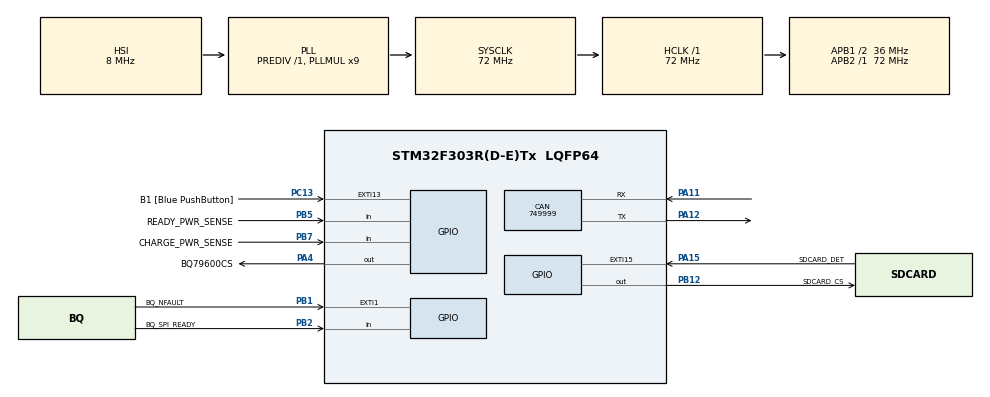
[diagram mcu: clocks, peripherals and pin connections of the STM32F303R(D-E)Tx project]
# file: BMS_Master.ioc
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CAN.CalculateBaudRate=749999
CAN.CalculateTimeBit=1333
CAN.CalculateTimeQuantum=444.44444444444446
FREERTOS.Tasks01=defaultTask,24,128,StartDefaultTask,Default,NULL,Dynamic,NULL,NULL;dataAcquisition,8,1024,StartDataAcquisitionTask,Default,NULL,Static,dataAcquisitionBuffer,dataAcquisitionControlBlock
Mcu.Family=STM32F3
Mcu.Name=STM32F303R(D-E)Tx
Mcu.Package=LQFP64
NVIC.PriorityGroup=NVIC_PRIORITYGROUP_4
NVIC.TIM6_DAC_IRQn=true\:15\:0\:false\:false\:true\:false\:false\:true\:true
NVIC.TimeBase=TIM6_DAC_IRQn
NVIC.TimeBaseIP=TIM6
PA1.Signal=OPAMP1_VINP
PA10.GPIO_Label=GREEN
PA10.Signal=S_TIM1_CH3
PA11.Mode=CAN_Activate
PA11.Signal=CAN_RX
PA12.Mode=CAN_Activate
PA12.Signal=CAN_TX
PA13.GPIO_Label=TMS
PA13.Signal=SYS_JTMS-SWDIO
PA14.GPIO_Label=TCK
PA14.Signal=SYS_JTCK-SWCLK
PA15.GPIO_Label=SDCARD_DET
PA15.GPIO_ModeDefaultEXTI=GPIO_MODE_IT_FALLING
PA15.Signal=GPXTI15
PA2.Signal=ADC1_IN3
PA4.GPIO_Label=BQ79600CS
PA4.Signal=GPIO_Output
PA5.Signal=SPI1_SCK
PA6.Signal=SPI1_MISO
PA7.Signal=SPI1_MOSI
PA8.GPIO_Label=RED
PA8.Signal=S_TIM1_CH1
PA9.GPIO_Label=BLUE
PA9.Signal=S_TIM1_CH2
PB1.GPIO_Label=BQ_NFAULT
PB1.GPIO_ModeDefaultEXTI=GPIO_MODE_IT_FALLING
PB1.Signal=GPXTI1
PB10.Signal=USART3_TX
PB11.Signal=USART3_RX
PB12.GPIO_Label=SDCARD_CS
PB12.Signal=GPIO_Output
PB13.Signal=SPI2_SCK
PB14.Signal=SPI2_MISO
PB15.Signal=SPI2_MOSI
PB2.GPIO_Label=BQ_SPI_READY
PB2.Signal=GPIO_Input
PB3.GPIO_Label=SWO
PB3.Signal=SYS_JTDO-TRACESWO
PB5.GPIO_Label=READY_PWR_SENSE
PB5.Signal=GPIO_Input
PB7.GPIO_Label=CHARGE_PWR_SENSE
PB7.Signal=GPIO_Input
PC13.GPIO_Label=B1 [Blue PushButton]
PC13.GPIO_ModeDefaultEXTI=GPIO_MODE_IT_FALLING
PC13.Signal=GPXTI13
PC14-OSC32_IN.Signal=RCC_OSC32_IN
PC15-OSC32_OUT.Signal=RCC_OSC32_OUT
PF0-OSC_IN.Signal=RCC_OSC_IN
PF1-OSC_OUT.Signal=RCC_OSC_OUT
ProjectManager.HeapSize=0x200
ProjectManager.StackSize=0x400
ProjectManager.TargetToolchain=Makefile
RCC.AHBFreq_Value=72000000
RCC.APB1CLKDivider=RCC_HCLK_DIV2
RCC.APB1Freq_Value=36000000
RCC.APB1TimFreq_Value=72000000
RCC.APB2Freq_Value=72000000
RCC.APB2TimFreq_Value=72000000
RCC.CortexFreq_Value=72000000
RCC.HCLKFreq_Value=72000000
RCC.HSE_VALUE=8000000
RCC.HSI_VALUE=8000000
RCC.LSE_VALUE=32768
RCC.PLLM=8
RCC.PLLMUL=RCC_PLL_MUL9
RCC.PLLN=336
RCC.PLLP=RCC_PLLP_DIV4
RCC.PLLQ=7
RCC.RCC_PLLsource_Clock_Source_FROM_HSE=RCC_HSE_PREDIV_DIV2
RCC.SYSCLKFreq_VALUE=72000000
RCC.SYSCLKSourceVirtual=RCC_SYSCLKSOURCE_PLLCLK
RCC.USBFreq_Value=72000000
SH.S_TIM1_CH1.0=TIM1_CH1
SH.S_TIM1_CH2.0=TIM1_CH2
SH.S_TIM1_CH3.0=TIM1_CH3
VP_FREERTOS_VS_CMSIS_V2.Mode=CMSIS_V2
VP_SYS_VS_tim6.Mode=TIM6
VP_TIM4_VS_ClockSourceINT.Mode=Internal
board=NUCLEO-F303RE

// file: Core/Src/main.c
/* USER CODE BEGIN Header */
/**
  ******************************************************************************
  * @file           : main.c
  * @brief          : Main program body
  ******************************************************************************
  * @attention
  *
  * Copyright (c) 2026 STMicroelectronics.
  * All rights reserved.
  *
  * This software is licensed under terms that can be found in the LICENSE file
  * in the root directory of this software component.
  * If no LICENSE file comes with this software, it is provided AS-IS.
  *
  ******************************************************************************
  */
/* USER CODE END Header */
#include "main.h"
#include "cmsis_os.h"
#include "bq79600.h"
#include "telemetry.h"
#include "bms_config.h"
/* USER CODE BEGIN Includes */
#include "data_acquisition.h"
#include "current_sensor.h"

/* USER CODE END Includes */

typedef StaticTask_t osStaticThreadDef_t;

CAN_HandleTypeDef hcan;

TIM_HandleTypeDef htim4;

/* Definitions for defaultTask */
osThreadId_t defaultTaskHandle;
const osThreadAttr_t defaultTask_attributes = {
  .name = "defaultTask",
  .stack_size = 128 * 4,
  .priority = (osPriority_t) osPriorityNormal,
};
/* Definitions for dataAcquisition */
osThreadId_t dataAcquisitionHandle;
uint32_t dataAcquisitionBuffer[ 1024 ];
osStaticThreadDef_t dataAcquisitionControlBlock;
const osThreadAttr_t dataAcquisition_attributes = {
  .name = "dataAcquisition",
  .cb_mem = &dataAcquisitionControlBlock,
  .cb_size = sizeof(dataAcquisitionControlBlock),
  .stack_mem = &dataAcquisitionBuffer[0],
  .stack_size = sizeof(dataAcquisitionBuffer),
  .priority = (osPriority_t) osPriorityLow,
};
/* Definitions for safetyManager */
osThreadId_t safetyManagerHandle;
uint32_t safetyManagerBuffer[ 1024 ];
osStaticThreadDef_t safetyManagerControlBlock;
const osThreadAttr_t safetyManager_attributes = {
  .name = "safetyManager",
  .cb_mem = &safetyManagerControlBlock,
  .cb_size = sizeof(safetyManagerControlBlock),
  .stack_mem = &safetyManagerBuffer[0],
  .stack_size = sizeof(safetyManagerBuffer),
  .priority = (osPriority_t) osPriorityLow,
};
/* USER CODE BEGIN PV */
SPI_HandleTypeDef hspi1;
Telemetry_t g_telemetry = {0};

/* USER CODE END PV */

void SystemClock_Config(void);
static void MX_GPIO_Init(void);
static void MX_CAN_Init(void);
static void MX_TIM4_Init(void);
void StartDefaultTask(void *argument);
void StartDataAcquisitionTask(void *argument);

/* USER CODE BEGIN PFP */
static void BMS_SPI_Init(void);

/* USER CODE END PFP */

/* USER CODE BEGIN 0 */
static void BMS_SPI_Init(void)
{
  __HAL_RCC_SPI1_CLK_ENABLE();
  hspi1.Instance = SPI1;
  hspi1.Init.Mode = SPI_MODE_MASTER;
  hspi1.Init.Direction = SPI_DIRECTION_2LINES;
  hspi1.Init.DataSize = SPI_DATASIZE_8BIT;
  hspi1.Init.CLKPolarity = SPI_POLARITY_LOW;
  hspi1.Init.CLKPhase = SPI_PHASE_1EDGE;
  hspi1.Init.NSS = SPI_NSS_SOFT;
  /* Current PCLK2 = 72 MHz: SPI = 4.5 MHz (BQ79600 range 2..6 MHz). */
  hspi1.Init.BaudRatePrescaler = SPI_BAUDRATEPRESCALER_16;
  hspi1.Init.FirstBit = SPI_FIRSTBIT_MSB;
  hspi1.Init.TIMode = SPI_TIMODE_DISABLE;
  hspi1.Init.CRCCalculation = SPI_CRCCALCULATION_DISABLE;
  hspi1.Init.CRCPolynomial = 7;
  hspi1.Init.CRCLength = SPI_CRC_LENGTH_DATASIZE;
  hspi1.Init.NSSPMode = SPI_NSS_PULSE_DISABLE;
  if (HAL_SPI_Init(&hspi1) != HAL_OK) Error_Handler();
}

void Delay_us(uint32_t us)
{
  /* Splitting long waits keeps subtraction valid across the 16-bit wrap. */
  while (us != 0U) {
    uint16_t count = us > 60000U ? 60000U : (uint16_t)us;
    uint16_t start = (uint16_t)__HAL_TIM_GET_COUNTER(&htim4);
    while ((uint16_t)((uint16_t)__HAL_TIM_GET_COUNTER(&htim4) - start) < count) {}
    us -= count;
  }
}

osMutexId_t telemetryMutex;
/* USER CODE END 0 */

int main(void)
{

  /* MCU Configuration--------------------------------------------------------*/

  /* Reset of all peripherals, Initializes the Flash interface and the Systick. */
  HAL_Init();

  /* Configure the system clock */
  SystemClock_Config();

  /* Initialize all configured peripherals */
  MX_GPIO_Init();
  MX_CAN_Init();
  MX_TIM4_Init();
  /* USER CODE BEGIN 2 */
  BMS_SPI_Init();
  /* A failed current frontend does not prevent voltage acquisition. */
  (void)CurrentSensor_Init();
  /* TIM4 is clocked from HCLK, one counter tick per microsecond. */
  __HAL_TIM_SET_PRESCALER(&htim4, HAL_RCC_GetHCLKFreq() / 1000000U - 1U);
  htim4.Instance->EGR = TIM_EGR_UG;
  if (HAL_TIM_Base_Start(&htim4) != HAL_OK) Error_Handler();

  /* USER CODE END 2 */

  /* Init scheduler */
  osKernelInitialize();

  /* USER CODE BEGIN RTOS_MUTEX */
  telemetryMutex = osMutexNew(NULL);
  if (telemetryMutex == NULL) Error_Handler();
  /* USER CODE END RTOS_MUTEX */

  /* Create the thread(s) */
  /* creation of defaultTask */
  //defaultTaskHandle = osThreadNew(StartDefaultTask, &g_telemetry, &defaultTask_attributes);

  /* creation of dataAcquisition */
  dataAcquisitionHandle = osThreadNew(StartDataAcquisitionTask, &g_telemetry, &dataAcquisition_attributes);

  safetyManagerHandle = osThreadNew(StartSafetyManagerTask, &g_telemetry, &safetyManager_attributes);
  /* USER CODE BEGIN RTOS_THREADS */
  if (dataAcquisitionHandle == NULL) Error_Handler();
  /* USER CODE END RTOS_THREADS */

  /* Start scheduler */
  osKernelStart();

  /* We should never get here as control is now taken by the scheduler */

  /* Infinite loop */
  while (1)
  {

  }
}

void SystemClock_Config(void)
{
  RCC_OscInitTypeDef RCC_OscInitStruct = {0};
  RCC_ClkInitTypeDef RCC_ClkInitStruct = {0};
  RCC_PeriphCLKInitTypeDef PeriphClkInit = {0};

  /** Initializes the RCC Oscillators according to the specified parameters
  * in the RCC_OscInitTypeDef structure.
  */
  RCC_OscInitStruct.OscillatorType = RCC_OSCILLATORTYPE_HSI;
  RCC_OscInitStruct.HSIState = RCC_HSI_ON;
  RCC_OscInitStruct.HSICalibrationValue = RCC_HSICALIBRATION_DEFAULT;
  RCC_OscInitStruct.PLL.PLLState = RCC_PLL_ON;
  RCC_OscInitStruct.PLL.PLLSource = RCC_PLLSOURCE_HSI;
  RCC_OscInitStruct.PLL.PLLMUL = RCC_PLL_MUL9;
  RCC_OscInitStruct.PLL.PREDIV = RCC_PREDIV_DIV1;
  if (HAL_RCC_OscConfig(&RCC_OscInitStruct) != HAL_OK)
  {
    Error_Handler();
  }

  /** Initializes the CPU, AHB and APB buses clocks
  */
  RCC_ClkInitStruct.ClockType = RCC_CLOCKTYPE_HCLK|RCC_CLOCKTYPE_SYSCLK
                              |RCC_CLOCKTYPE_PCLK1|RCC_CLOCKTYPE_PCLK2;
  RCC_ClkInitStruct.SYSCLKSource = RCC_SYSCLKSOURCE_PLLCLK;
  RCC_ClkInitStruct.AHBCLKDivider = RCC_SYSCLK_DIV1;
  RCC_ClkInitStruct.APB1CLKDivider = RCC_HCLK_DIV2;
  RCC_ClkInitStruct.APB2CLKDivider = RCC_HCLK_DIV1;

  if (HAL_RCC_ClockConfig(&RCC_ClkInitStruct, FLASH_LATENCY_2) != HAL_OK)
  {
    Error_Handler();
  }
  PeriphClkInit.PeriphClockSelection = RCC_PERIPHCLK_TIM34;
  PeriphClkInit.Tim34ClockSelection = RCC_TIM34CLK_HCLK;
  if (HAL_RCCEx_PeriphCLKConfig(&PeriphClkInit) != HAL_OK)
  {
    Error_Handler();
  }
}

static void MX_CAN_Init(void)
{

  hcan.Instance = CAN;
  hcan.Init.Prescaler = 16;
  hcan.Init.Mode = CAN_MODE_NORMAL;
  hcan.Init.SyncJumpWidth = CAN_SJW_1TQ;
  hcan.Init.TimeSeg1 = CAN_BS1_1TQ;
  hcan.Init.TimeSeg2 = CAN_BS2_1TQ;
  hcan.Init.TimeTriggeredMode = DISABLE;
  hcan.Init.AutoBusOff = DISABLE;
  hcan.Init.AutoWakeUp = DISABLE;
  hcan.Init.AutoRetransmission = DISABLE;
  hcan.Init.ReceiveFifoLocked = DISABLE;
  hcan.Init.TransmitFifoPriority = DISABLE;
  if (HAL_CAN_Init(&hcan) != HAL_OK)
  {
    Error_Handler();
  }

}

static void MX_TIM4_Init(void)
{

  TIM_ClockConfigTypeDef sClockSourceConfig = {0};
  TIM_MasterConfigTypeDef sMasterConfig = {0};

  htim4.Instance = TIM4;
  htim4.Init.Prescaler = 0;
  htim4.Init.CounterMode = TIM_COUNTERMODE_UP;
  htim4.Init.Period = 65535;
  htim4.Init.ClockDivision = TIM_CLOCKDIVISION_DIV1;
  htim4.Init.AutoReloadPreload = TIM_AUTORELOAD_PRELOAD_DISABLE;
  if (HAL_TIM_Base_Init(&htim4) != HAL_OK)
  {
    Error_Handler();
  }
  sClockSourceConfig.ClockSource = TIM_CLOCKSOURCE_INTERNAL;
  if (HAL_TIM_ConfigClockSource(&htim4, &sClockSourceConfig) != HAL_OK)
  {
    Error_Handler();
  }
  sMasterConfig.MasterOutputTrigger = TIM_TRGO_RESET;
  sMasterConfig.MasterSlaveMode = TIM_MASTERSLAVEMODE_DISABLE;
  if (HAL_TIMEx_MasterConfigSynchronization(&htim4, &sMasterConfig) != HAL_OK)
  {
    Error_Handler();
  }

}

static void MX_GPIO_Init(void)
{
  GPIO_InitTypeDef GPIO_InitStruct = {0};

  /* GPIO Ports Clock Enable */
  __HAL_RCC_GPIOC_CLK_ENABLE();
  __HAL_RCC_GPIOF_CLK_ENABLE();
  __HAL_RCC_GPIOA_CLK_ENABLE();
  __HAL_RCC_GPIOB_CLK_ENABLE();

  /*Configure GPIO pin Output Level */
  HAL_GPIO_WritePin(BQ79600CS_GPIO_Port, BQ79600CS_Pin, GPIO_PIN_SET);

  /*Configure GPIO pin Output Level */
  HAL_GPIO_WritePin(SDCARD_CS_GPIO_Port, SDCARD_CS_Pin, GPIO_PIN_RESET);

  /*Configure GPIO pin : B1_Pin */
  GPIO_InitStruct.Pin = B1_Pin;
  GPIO_InitStruct.Mode = GPIO_MODE_IT_FALLING;
  GPIO_InitStruct.Pull = GPIO_NOPULL;
  HAL_GPIO_Init(B1_GPIO_Port, &GPIO_InitStruct);

  /*Configure GPIO pins : PA1 PA2 */
  GPIO_InitStruct.Pin = GPIO_PIN_1|GPIO_PIN_2;
  GPIO_InitStruct.Mode = GPIO_MODE_ANALOG;
  GPIO_InitStruct.Pull = GPIO_NOPULL;
  HAL_GPIO_Init(GPIOA, &GPIO_InitStruct);

  /*Configure GPIO pin : BQ79600CS_Pin */
  GPIO_InitStruct.Pin = BQ79600CS_Pin;
  GPIO_InitStruct.Mode = GPIO_MODE_OUTPUT_PP;
  GPIO_InitStruct.Pull = GPIO_NOPULL;
  GPIO_InitStruct.Speed = GPIO_SPEED_FREQ_LOW;
  HAL_GPIO_Init(BQ79600CS_GPIO_Port, &GPIO_InitStruct);

  /*Configure GPIO pins : PA5 PA6 PA7 */
  GPIO_InitStruct.Pin = GPIO_PIN_5|GPIO_PIN_6|GPIO_PIN_7;
  GPIO_InitStruct.Mode = GPIO_MODE_AF_PP;
  GPIO_InitStruct.Pull = GPIO_NOPULL;
  GPIO_InitStruct.Speed = GPIO_SPEED_FREQ_HIGH;
  GPIO_InitStruct.Alternate = GPIO_AF5_SPI1;
  HAL_GPIO_Init(GPIOA, &GPIO_InitStruct);

  /*Configure GPIO pin : BQ_NFAULT_Pin */
  GPIO_InitStruct.Pin = BQ_NFAULT_Pin;
  GPIO_InitStruct.Mode = GPIO_MODE_IT_FALLING;
  GPIO_InitStruct.Pull = GPIO_NOPULL;
  HAL_GPIO_Init(BQ_NFAULT_GPIO_Port, &GPIO_InitStruct);

  /*Configure GPIO pins : BQ_SPI_READY_Pin READY_PWR_SENSE_Pin CHARGE_PWR_SENSE_Pin */
  GPIO_InitStruct.Pin = BQ_SPI_READY_Pin|READY_PWR_SENSE_Pin|CHARGE_PWR_SENSE_Pin;
  GPIO_InitStruct.Mode = GPIO_MODE_INPUT;
  GPIO_InitStruct.Pull = GPIO_NOPULL;
  HAL_GPIO_Init(GPIOB, &GPIO_InitStruct);

  /*Configure GPIO pins : PB10 PB11 */
  GPIO_InitStruct.Pin = GPIO_PIN_10|GPIO_PIN_11;
  GPIO_InitStruct.Mode = GPIO_MODE_AF_PP;
  GPIO_InitStruct.Pull = GPIO_NOPULL;
  GPIO_InitStruct.Speed = GPIO_SPEED_FREQ_HIGH;
  GPIO_InitStruct.Alternate = GPIO_AF7_USART3;
  HAL_GPIO_Init(GPIOB, &GPIO_InitStruct);

  /*Configure GPIO pin : SDCARD_CS_Pin */
  GPIO_InitStruct.Pin = SDCARD_CS_Pin;
  GPIO_InitStruct.Mode = GPIO_MODE_OUTPUT_PP;
  GPIO_InitStruct.Pull = GPIO_NOPULL;
  GPIO_InitStruct.Speed = GPIO_SPEED_FREQ_LOW;
  HAL_GPIO_Init(SDCARD_CS_GPIO_Port, &GPIO_InitStruct);

  /*Configure GPIO pins : PB13 PB14 PB15 */
  GPIO_InitStruct.Pin = GPIO_PIN_13|GPIO_PIN_14|GPIO_PIN_15;
  GPIO_InitStruct.Mode = GPIO_MODE_AF_PP;
  GPIO_InitStruct.Pull = GPIO_NOPULL;
  GPIO_InitStruct.Speed = GPIO_SPEED_FREQ_HIGH;
  GPIO_InitStruct.Alternate = GPIO_AF5_SPI2;
  HAL_GPIO_Init(GPIOB, &GPIO_InitStruct);

  /*Configure GPIO pins : RED_Pin BLUE_Pin GREEN_Pin */
  GPIO_InitStruct.Pin = RED_Pin|BLUE_Pin|GREEN_Pin;
  GPIO_InitStruct.Mode = GPIO_MODE_AF_PP;
  GPIO_InitStruct.Pull = GPIO_NOPULL;
  GPIO_InitStruct.Speed = GPIO_SPEED_FREQ_LOW;
  GPIO_InitStruct.Alternate = GPIO_AF6_TIM1;
  HAL_GPIO_Init(GPIOA, &GPIO_InitStruct);

  /*Configure GPIO pin : SDCARD_DET_Pin */
  GPIO_InitStruct.Pin = SDCARD_DET_Pin;
  GPIO_InitStruct.Mode = GPIO_MODE_IT_FALLING;
  GPIO_InitStruct.Pull = GPIO_NOPULL;
  HAL_GPIO_Init(SDCARD_DET_GPIO_Port, &GPIO_InitStruct);

}

void StartDefaultTask(void *argument)
{
  for(;;)
  {
    osDelay(1);
  }
}

void StartDataAcquisitionTask(void *argument)
{
  /* USER CODE BEGIN StartDataAcquisitionTask */
  acquiredata(argument);
  /* USER CODE END StartDataAcquisitionTask */
}

/* USER CODE BEGIN Header_StartSafetyManagerTask */
/* USER CODE END Header_StartDataAcquisitionTask */
void StartSafetyManagerTask(void *argument)
{
  /* USER CODE BEGIN StartSafetyManagerTask */
  Telemetry_t *telemetry = (Telemetry_t*)argument;

  while(1){

   //Step 1 copy telemetry to local values so the mutex isnt locke by this task
  TickType_t last = xTaskGetTickCount();
  osMutexAcquire(telemetryMutex, osWaitForever);
  uint32_t acquisition_errors = telemetry->acquisition_errors;
  bool voltage_valid = telemetry->voltage_valid;
  bool current_valid = telemetry->current_valid;
  uint32_t current_errors = telemetry->current_errors;
  bool temperature_valid = telemetry->temperature_valid;
  uint32_t temperature_errors = telemetry->temperature_errors;
  float min_temperature_C = telemetry->min_temperature_C;
  float max_temperature_C = telemetry->max_temperature_C;
  float pack_voltage_mV = telemetry->pack_voltage_mV;
  float cell_voltage[TOTAL_CELLS] = telemetry->cell_voltage[TOTAL_CELLS];
  float min_cell_voltage_mV = telemetry->min_cell_voltage_mV;
  float max_cell_voltage_mV = telemetry->max_cell_voltage_mV;
  osMutexRelease(telemetryMutex);

  //Step two check every fault condition, update fault flag and notify CAN Controller Task
   if (max_temperature_C >= MAX_TEMP)
   {
     xTaskNotify(canTaskHandle, FAULT_OVTEMP, eSetValueWithOverwrite);
   }

   if(min_temperature_C <= MIN_TEMP){
     xTaskNotify(canTaskHandle, FAULT_UNDTEMP, eSetValueWithOverwrite);
   }

   if(!temperature_valid || (temperature_errors != 0)){
     xTaskNotify(canTaskHandle, FAULT_TEMPNOTVALID, eSetValueWithOverwrite);
   }

   if(!voltage_valid || (acquisition_errors != 0)){
     xTaskNotify(canTaskHandle, FAULT_VOLTERR, eSetValueWithOverwrite);
   }

   if(!current_valid || (current_errors != 0)){
     xTaskNotify(canTaskHandle, FAULT_CURRERR, eSetValueWithOverwrite);
   }

   if(pack_voltage_mV > MAX_PACK_VOLTAGE){
     xTaskNotify(canTaskHandle, FAULT_OVVOLTAGE, eSetValueWithOverwrite);
   }

   if(pack_voltage_mV < MIN_PACK_VOLTAGE){
    xTaskNotify(canTaskHandle, FAULT_UNDVOLTAGE, eSetValueWithOverwrite);
   }

   if(min_cell_voltage_mV < MIN_CELL_VOLTAGE){
    xTaskNotify(canTaskHandle, FAULT_MINCELLVOLT, eSetValueWithOverwrite);
   }

   if(max_cell_voltage_mV > MAX_CELL_VOLTAGE){
    xTaskNotify(canTaskHandle, FAULT_MAXCELLVOLT, eSetValueWithOverwrite);
   }

   //Make algorith to see if a fuse tripped
   vTaskDelayUntil(&last, 5);
  /* USER CODE END StartDataAcquisitionTask */
}

void HAL_TIM_PeriodElapsedCallback(TIM_HandleTypeDef *htim)
{
  if (htim->Instance == TIM6)
  {
    HAL_IncTick();
  }
}

void Error_Handler(void)
{
  __disable_irq();
  while (1)
  {
  }
}
